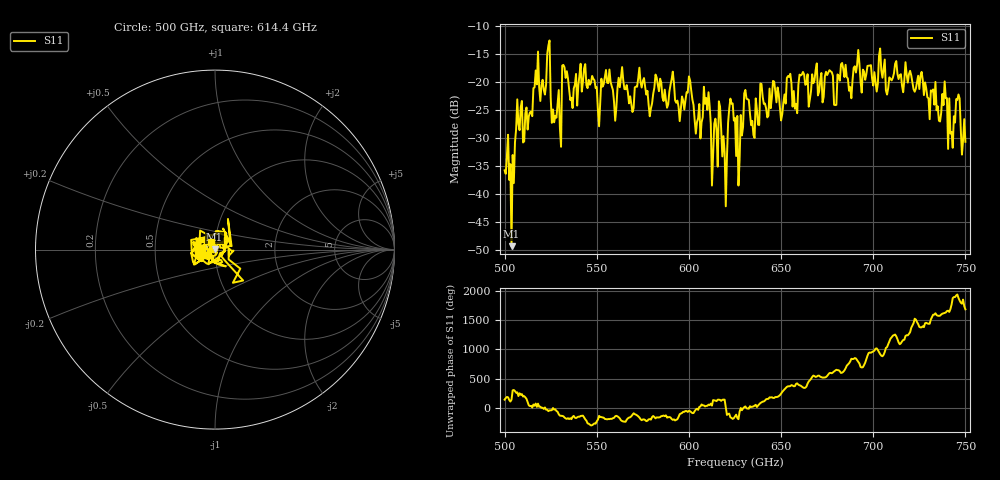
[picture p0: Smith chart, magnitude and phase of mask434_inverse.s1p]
!Created with skrf (http://scikit-rf.org).
# GHz S MA R 50.0
!freq magS11 angS11
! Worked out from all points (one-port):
!   401 points, 500 GHz to 750 GHz, reference 50 ohm
!   lowest |S11| = -49.4 dB at 503.8 GHz (marker M1), VSWR 1.01, Z = 49.8 + j0.236 ohm
!   |S11| at or under -10 dB: start of sweep to end of sweep
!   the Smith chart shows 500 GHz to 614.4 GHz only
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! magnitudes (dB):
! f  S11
! 500 GHz  -35.8
! 503.8 GHz  -49.4
! 508.1 GHz  -28.7
! 513.8 GHz  -25.5
! 516.9 GHz  -18.0
! 523.8 GHz  -13.6
! 526.9 GHz  -27.3
! 531.2 GHz  -17.1
! 532.5 GHz  -17.4
! 550.6 GHz  -25.0
! 562.5 GHz  -21.0
! 593.8 GHz  -23.4
! 609.4 GHz  -22.9
! 613.1 GHz  -33.0
! 617.5 GHz  -28.5
! 619.4 GHz  -32.7
! 622.5 GHz  -23.0
! 625 GHz  -26.5
! 626.9 GHz  -38.6
! 631.2 GHz  -23.0
! 634.4 GHz  -27.0
! 656.2 GHz  -24.5
! 687.5 GHz  -21.0
! 718.8 GHz  -20.2
! 738.8 GHz  -20.0
! 741.9 GHz  -29.3
! 745.6 GHz  -23.3
! 750 GHz  -30.7
